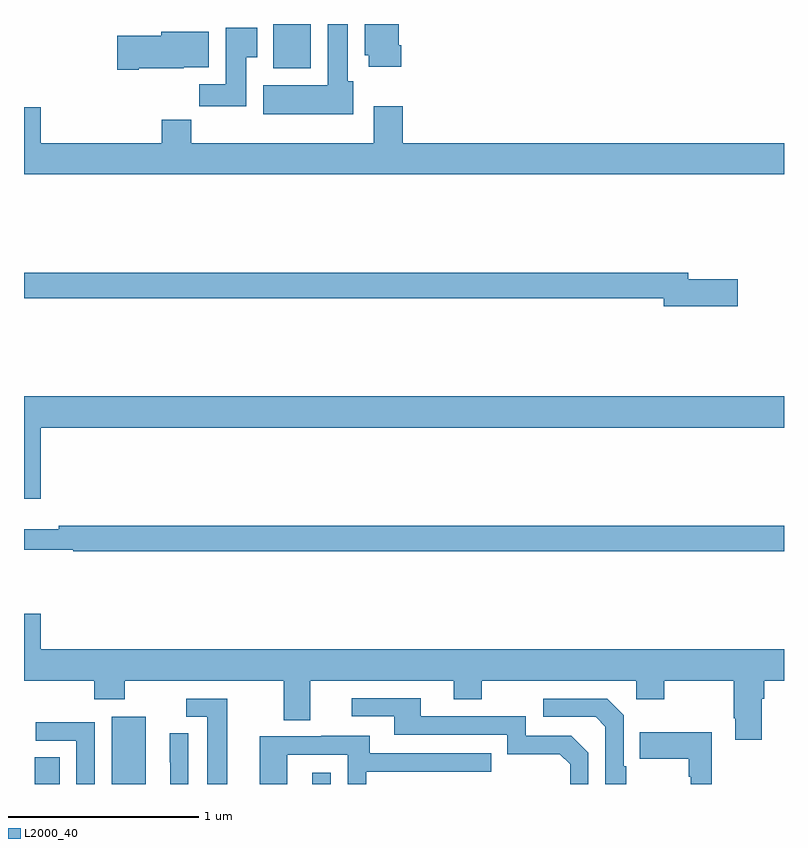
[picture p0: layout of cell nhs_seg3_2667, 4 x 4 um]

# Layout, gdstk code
import gdstk
lib = gdstk.Library(unit=1e-6, precision=1e-09)
def R(c, l, rs):  # rectangles x0, y0, x1, y1
    for r in rs: c.add(gdstk.rectangle(r[:2], r[2:], *l))
def P(c, l, *ps):  # polygons
    for p in ps: c.add(gdstk.Polygon(p, *l))
L2000_40 = (2000, 40)

nhs_seg3_2667 = lib.new_cell('nhs_seg3_2667')
R(nhs_seg3_2667, L2000_40, [(249.056,672.4,249.187,672.542), (249.461,672.4,249.64,672.754), (250.517,672.4,250.614,672.46), (250.313,676.166,250.51,676.4)])
P(nhs_seg3_2667, L2000_40, [(250.985,676.288),(250.972,676.288),(250.972,676.4),(250.793,676.4),(250.793,676.236),(250.814,676.236),(250.814,676.176),(250.985,676.176)],
  [(250.732,676.098),(250.705,676.098),(250.705,676.4),(250.598,676.4),(250.598,676.078),(250.259,676.078),(250.259,675.926),(250.732,675.926)],
  [(250.171,676.225),(250.228,676.225),(250.228,676.381),(250.061,676.381),(250.061,676.084),(249.922,676.084),(249.922,675.966),(250.171,675.966)],
  [(249.604,676.166),(249.84,676.166),(249.84,676.172),(249.973,676.172),(249.973,676.36),(249.722,676.36),(249.722,676.337),(249.492,676.337),(249.492,676.159),(249.604,676.159)],
  [(250.841,675.967),(250.841,675.772),(249.881,675.772),(249.881,675.896),(249.725,675.896),(249.725,675.772),(249.088,675.772),(249.088,675.961),(249,675.961),(249,675.608),(253,675.608),(253,675.772),(250.994,675.772),(250.994,675.967)],
  [(252.757,675.056),(252.496,675.056),(252.496,675.092),(249,675.092),(249,674.956),(252.368,674.956),(252.368,674.914),(252.757,674.914)],
  [(249.088,674.276),(253,674.276),(253,674.44),(249,674.44),(249,673.902),(249.088,673.902)],
  [(253,673.76),(249.184,673.76),(249.184,673.741),(249,673.741),(249,673.632),(249.26,673.632),(249.26,673.624),(253,673.624)],
  [(252.883,672.848),(252.896,672.848),(252.896,672.944),(253,672.944),(253,673.108),(249.088,673.108),(249.088,673.297),(249,673.297),(249,672.944),(249.371,672.944),(249.371,672.845),(249.531,672.845),(249.531,672.944),(250.367,672.944),(250.367,672.736),(250.507,672.736),(250.507,672.944),(251.261,672.944),(251.261,672.845),(251.409,672.845),(251.409,672.944),(252.222,672.944),(252.222,672.845),(252.369,672.845),(252.369,672.944),(252.736,672.944),(252.736,672.745),(252.743,672.745),(252.743,672.633),(252.883,672.633)],
  [(251.97,672.564),(251.88,672.654),(251.64,672.654),(251.64,672.756),(251.089,672.756),(251.089,672.852),(250.725,672.852),(250.725,672.756),(250.949,672.756),(250.949,672.66),(251.544,672.66),(251.544,672.557),(251.821,672.557),(251.874,672.504),(251.874,672.4),(251.97,672.4)],
  [(252.169,672.493),(252.156,672.493),(252.156,672.762),(252.069,672.849),(251.733,672.849),(251.733,672.753),(252.009,672.753),(252.06,672.702),(252.06,672.4),(252.169,672.4)],
  [(250.069,672.849),(249.855,672.849),(249.855,672.753),(249.965,672.753),(249.965,672.4),(250.069,672.4)],
  [(249.372,672.726),(249.063,672.726),(249.063,672.627),(249.276,672.627),(249.276,672.4),(249.372,672.4)],
  [(252.619,672.673),(252.241,672.673),(252.241,672.533),(252.498,672.533),(252.498,672.437),(252.51,672.437),(252.51,672.4),(252.619,672.4)],
  [(249.864,672.668),(249.768,672.668),(249.768,672.514),(249.77,672.514),(249.77,672.4),(249.864,672.4)],
  [(250.386,672.555),(250.704,672.555),(250.704,672.4),(250.8,672.4),(250.8,672.465),(251.459,672.465),(251.459,672.561),(250.819,672.561),(250.819,672.655),(250.565,672.655),(250.565,672.651),(250.241,672.651),(250.241,672.4),(250.386,672.4)])

lib.write_gds('nhs_seg3_2667.gds')
